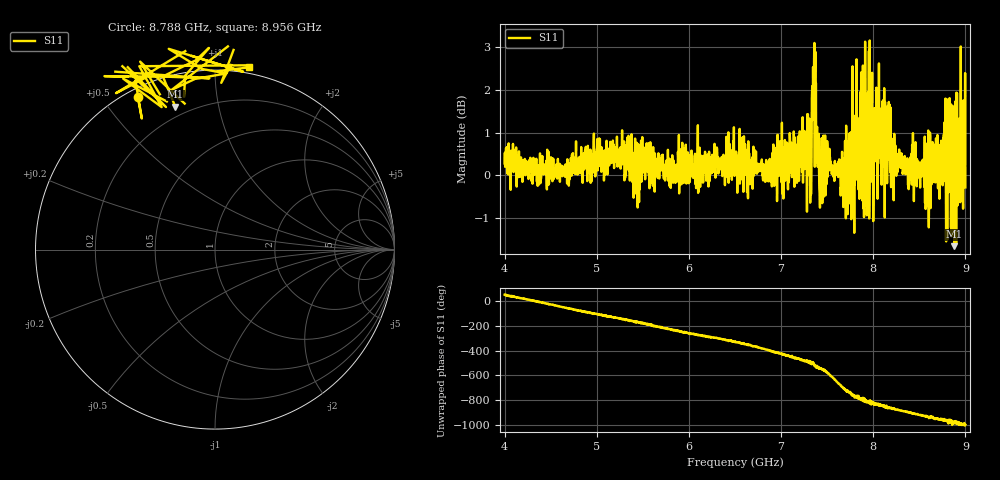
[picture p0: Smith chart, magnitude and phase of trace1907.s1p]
! Created with skrf 1.8.0 (http://scikit-rf.org).
# Hz S RI R 50.0
!freq ReS11 ImS11
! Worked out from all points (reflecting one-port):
!   1601 points, 4 GHz to 9 GHz, reference 50 ohm
!   lowest |S11| = -1.7 dB at 8.881 GHz (marker M1), VSWR 10.46, Z = 7.5 + j37.5 ohm
!   phase of S11 starts at 52 deg and turns -1050 deg over the sweep
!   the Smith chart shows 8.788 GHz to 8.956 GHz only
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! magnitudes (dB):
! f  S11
! 4 GHz  0.3
! 4.625 GHz  0.0
! 5.25 GHz  0.3
! 5.875 GHz  -0.1
! 6.5 GHz  0.4
! 6.822 GHz  0.0
! 7.125 GHz  0.6
! 7.306 GHz  1.3
! 7.359 GHz  2.9
! 7.406 GHz  0.4
! 7.438 GHz  0.1
! 7.525 GHz  0.6
! 7.666 GHz  -0.2
! 7.75 GHz  -0.3
! 7.844 GHz  0.9
! 7.909 GHz  0.6
! 7.928 GHz  1.5
! 7.981 GHz  -0.1
! 8.009 GHz  1.5
! 8.153 GHz  0.4
! 8.216 GHz  0.5
! 8.375 GHz  0.1
! 8.588 GHz  -0.7
! 8.666 GHz  0.5
! 8.822 GHz  1.2
! 8.881 GHz  -1.7
! 8.972 GHz  0.4
! 9 GHz  -0.3
